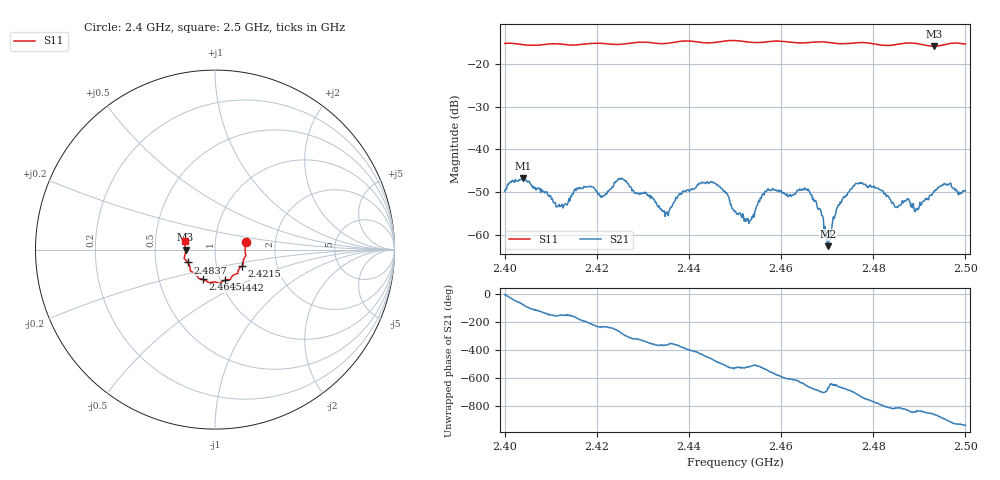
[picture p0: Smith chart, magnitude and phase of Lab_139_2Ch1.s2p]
# Hz S RI R 50
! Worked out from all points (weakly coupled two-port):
!   601 points, 2.4 GHz to 2.5 GHz, reference 50 ohm
!   highest |S21| = -46.71 dB at 2.404 GHz (marker M1); lowest = -62.7 dB at 2.4702 GHz (marker M2)
!   lowest |S11| = -15.7 dB at 2.4932 GHz (marker M3), VSWR 1.39, Z = 35.9 - j0.0564 ohm
!   |S11| at or under -10 dB: start of sweep to end of sweep
!   S12 and S22 are empty: the file has one direction only
!   S11 on the Smith chart (normalised r, x): 2.4 GHz: 1.41, +0.12; 2.4215 GHz: 1.33, -0.25; 2.4442 GHz: 1.05, -0.37; 2.4645 GHz: 0.83, -0.29; 2.4837 GHz: 0.73, -0.11; 2.5 GHz: 0.71, +0.07
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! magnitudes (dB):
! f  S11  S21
! 2.4 GHz  -15.1  -49.9
! 2.404 GHz  -15.4  -46.7
! 2.4117 GHz  -15.2  -53.3
! 2.4167 GHz  -15.3  -49.1
! 2.4215 GHz  -15.1  -50.8
! 2.4253 GHz  -15.3  -46.8
! 2.4333 GHz  -15.1  -53.5
! 2.4353 GHz  -15.1  -54.9
! 2.4442 GHz  -15.0  -47.9
! 2.45 GHz  -14.4  -54.5
! 2.4528 GHz  -14.7  -56.3
! 2.457 GHz  -14.7  -49.5
! 2.4645 GHz  -15.0  -49.6
! 2.4667 GHz  -14.8  -50.7
! 2.4702 GHz  -14.8  -62.7
! 2.4723 GHz  -15.1  -53.3
! 2.4762 GHz  -15.0  -48.0
! 2.4833 GHz  -15.6  -51.0
! 2.4837 GHz  -15.5  -51.7
! 2.4893 GHz  -15.1  -53.9
! 2.4932 GHz  -15.7  -49.9
! 2.5 GHz  -15.3  -49.7
